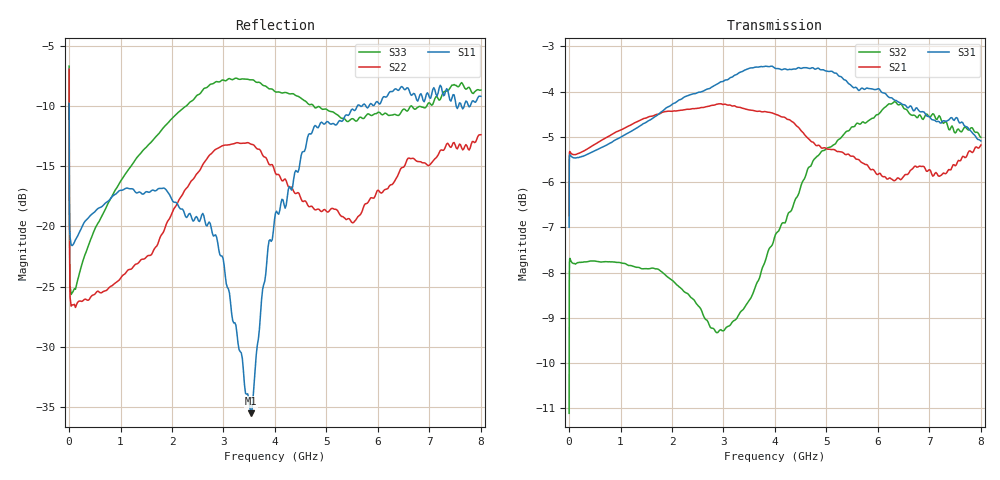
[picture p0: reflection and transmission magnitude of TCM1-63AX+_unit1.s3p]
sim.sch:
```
<QucsStudio Schematic 5.9>
<Properties>
View=-107.802,-225.207,1197.13,617.629,1.66165,316,62
Grid=10,10,0
DataSet=*.dat
DataDisplay=*.dpl
OpenDisplay=1
showFrame=0
FrameText0=Title
FrameText1=Drawn By:
FrameText2=Date:
FrameText3=Revision:
</Properties>
<Symbol>
</Symbol>
<Components>
GND * 1 190 240 0 0 0
Eqn Eqn1 1 200 490 0 8 0 "R=10k="1"yes"0
TLIN Line2 1 500 170 -23 23 0 "50 Ohm"1"10 mm"1"0 dB"0"26.85"0""0""0
TLIN Line1 1 310 170 -22 20 0 "50 Ohm"1"10 mm"1"0 dB"0"26.85"0""0""0
Pac P1 1 190 210 18 -26 0 "1"1"50 Ohm"1"10 dBm"0"1 GHz"0"26.85"0"SUBCLICK"0
R R6 1 220 -10 16 -18 3 "1G"1"26.85"0"european"0"SMD0603"0
GND * 1 220 20 0 0 0
TLIN TL1 1 380 80 20 -26 1 "50 Ω"1"3 mm"1"0 dB"0"26.85"0""0""0
GND * 1 330 130 0 0 0
TLIN TL2 1 330 80 -78 -26 5 "50 Ω"1"3 mm"1"0 dB"0"26.85"0""0""0
R R2 1 420 -30 -17 -48 2 "R"1"26.85"0"european"0"SMD0603"0
R R1 1 420 30 -16 -50 2 "R"1"26.85"0"european"0"SMD0603"0
C C2 1 500 -30 -20 -49 0 "1 pF"1"0"0""0"neutral"0"SMD0603"0
C C1 1 500 30 -25 13 0 "1 pF"1"0"0""0"neutral"0"SMD0603"0
TLIN4P Line3 1 840 -40 -26 16 0 "50 Ohm"1"100 mm"1"0 dB"0"26.85"0""0""0
Pac P3 1 920 20 18 -31 0 "3"1"50 Ohm"1"0 dBm"0"1 GHz"0"26.85"0"SUBCLICK"0
SPfile TR1 1 700 -20 -29 -107 6 "TCM1-63AX+_unit1.s3p"1"3"1"polar"0"cubic"0"short"0"none"0"block"0"SOT23"0
.SW SW1 1 860 170 0 8 0 "SP1"1"R"1"list"0"1000"0"10k"0"100;150;220;330;470;680;1000"0
GND * 1 610 240 0 0 0
Pac P2 1 610 210 18 -26 0 "2"1"50 Ohm"1"0 dBm"0"1 GHz"0"26.85"0"SUBCLICK"0
.SP SP1 1 720 170 0 8 0 "lin"1"0 GHz"1"4 GHz"1"1001"1"no"0"1"0"2"0"none"0
</Components>
<Wires>
340 170 380 170
190 170 190 180
190 170 280 170
380 170 470 170
380 110 380 170
330 110 330 130
380 30 390 30
380 30 380 50
330 -30 330 50
330 -30 390 -30
450 -30 470 -30
450 30 470 30
920 50 920 90
920 -50 920 -10
870 -50 920 -50
810 -30 870 -30
730 -50 810 -50
700 90 920 90
700 40 700 90
530 170 610 170
610 170 610 180
220 -40 220 -40 "VGND" 200 -70 0 ""
530 -30 530 -30 "TR_P3" 540 -20 0 ""
530 30 530 30 "TR_P2" 540 0 0 ""
870 -30 870 -30 "VGND" 900 -90 0 ""
670 -50 670 -50 "TR_P2" 600 -70 0 ""
730 10 730 10 "TR_P3" 750 -10 0 ""
700 90 700 90 "VGND" 630 70 0 ""
</Wires>
<Diagrams>
</Diagrams>
<Paintings>
Line 150 120 880 0 #000000 2 3
Text 153 131 16 #000000 0 DUT
Text 153 81 16 #000000 0 Probe
</Paintings>
```
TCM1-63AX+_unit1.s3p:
!Created: 12-07-2012 at 15:55:32
!MODEL: TCM1-63AX+
! ED15043/5
!S/N: Unit 1
! Port1-Pin 3( Pri DOT), Port 2-Pin 6 (SEC DOT) and Port 3-Pin 4 (Secondary), Groung -Pin Pi2 (Primary), Not used Pins 1 & 5
! Port Extension Performed
#MHz S dB R 50
!Frequency  S11 dB  S11 DEG  S12 dB  S12 DEG  S13 dB  S13 DEG
!  S21 dB  S21 DEG  S22 dB  S22 DEG  S23 dB  S23 DEG
!  S31 dB  S31 DEG  S32 dB  S32 DEG  S33 dB  S33 DEG
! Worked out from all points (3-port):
!   400 points, 1 MHz to 8 GHz, reference 50 ohm
!   strongest paths, dB at 1 MHz, 1.786 GHz, 3.865 GHz, 5.943 GHz, 8 GHz:
!     S31: -7.0, -4.5, -3.4, -4.0, -5.1
!     S21: -6.7, -4.5, -4.5, -5.8, -5.2
!     S32: -11.1, -8.0, -7.5, -4.5, -5.0
!   lowest |S11| = -35.5 dB at 3.532 GHz (marker M1), VSWR 1.03, Z = 51.6 + j0.69 ohm
!   |S11| at or under -10 dB: 1.057 MHz to 5.602 GHz (5.601 GHz wide, 200 % of centre); 5.765 GHz to 5.827 GHz (62.57 MHz wide, 1.08 % of centre); 7.52 GHz to 7.564 GHz (43.82 MHz wide, 0.581 % of centre)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
1  -9.79 114.7  -6.75 18.4  -7.00 -160.7
   -6.75 18.2  -6.94 136.9  -11.13 34.7
   -6.99 -161.0  -11.11 34.6  -6.70 137.8
40.7813  -21.54 9.6  -5.38 -0.4  -5.44 179.3
         -5.37 -0.4  -26.62 156.9  -7.76 0.8
         -5.43 179.3  -7.75 0.8  -25.65 152.5
3532.031  -35.52 23.5  -4.43 -90.0  -3.54 75.6
          -4.41 -90.3  -13.17 4.9  -8.51 3.6
          -3.48 75.6  -8.56 3.2  -7.83 -0.3
4758.125  -11.74 97.3  -5.15 -128.0  -3.62 38.2
          -5.14 -128.4  -18.55 18.5  -5.62 -3.8
          -3.49 37.8  -5.50 -4.0  -10.04 -9.9
8000  -9.20 -3.5  -5.22 127.0  -5.19 -51.8
      -5.18 126.8  -12.39 11.0  -4.96 -53.4
      -5.09 -49.7  -5.01 -52.1  -8.68 -34.2
